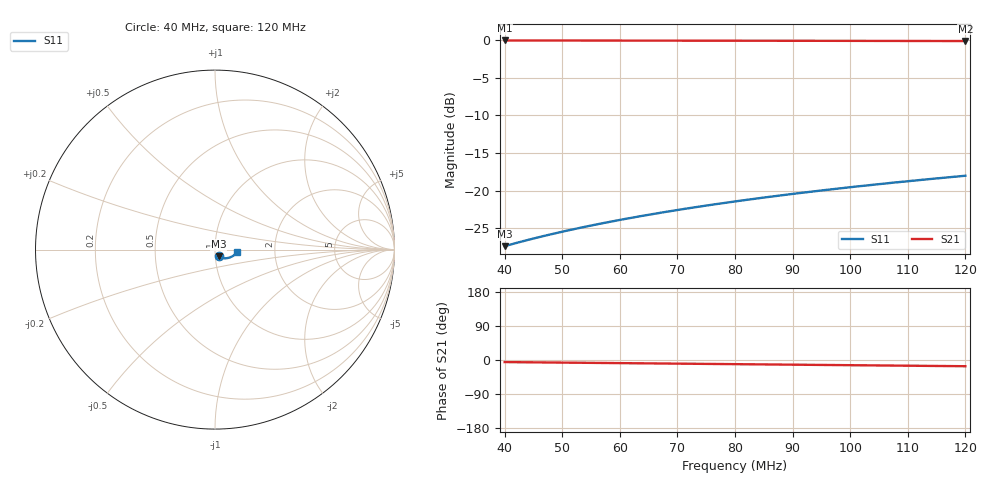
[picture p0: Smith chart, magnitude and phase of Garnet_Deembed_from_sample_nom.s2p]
! COPPER MOUNTAIN TECHNOLOGIES, PLANAR TR1300/1, 00000000, 23.1.2/1.0
! Date: 7/6/2023 6:32:27 PM
! Data: Format [Calibration Info]
! Freq  S11: Re/Im  S21: Re/Im  S12: Re/Im  S22: Re/Im
# HZ S RI R 50
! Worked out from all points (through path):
!   16001 points, 40 MHz to 120 MHz, reference 50 ohm
!   highest |S21| = -0.02 dB at 40 MHz (marker M1); lowest = -0.1 dB at 120 MHz (marker M2)
!   group delay of S21, straight-line fit = 379 ps
!   lowest |S11| = -27.4 dB at 40 MHz (marker M3), VSWR 1.09, Z = 51.9 - j3.89 ohm
!   |S11| at or under -10 dB: start of sweep to end of sweep
!   S12 and S22 are empty: the file has one direction only
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4e7  0.0204 -0.0374  0.9934 -0.0957  0 0  0 0
4.035e7  0.0208 -0.0376  0.9933 -0.0965  0 0  0 0
4.2165e7  0.0225 -0.0388  0.9928 -0.1008  0 0  0 0
4.3995e7  0.0244 -0.04  0.9922 -0.1052  0 0  0 0
4.6755e7  0.0273 -0.0416  0.9913 -0.1117  0 0  0 0
4.9975e7  0.0309 -0.0433  0.9901 -0.1193  0 0  0 0
5.3335e7  0.0348 -0.0448  0.9888 -0.1272  0 0  0 0
5.6485e7  0.0386 -0.046  0.9876 -0.1346  0 0  0 0
5.9755e7  0.0427 -0.047  0.9862 -0.1423  0 0  0 0
6.315e7  0.0471 -0.0477  0.9847 -0.1503  0 0  0 0
6.667e7  0.0517 -0.0482  0.983 -0.1585  0 0  0 0
6.9855e7  0.0561 -0.0484  0.9815 -0.1659  0 0  0 0
7.3135e7  0.0606 -0.0482  0.9798 -0.1735  0 0  0 0
7.6515e7  0.0654 -0.0478  0.978 -0.1814  0 0  0 0
8e7  0.0703 -0.047  0.9761 -0.1894  0 0  0 0
8.65e7  0.0797 -0.0447  0.9723 -0.2043  0 0  0 0
9.3335e7  0.0895 -0.0409  0.968 -0.2199  0 0  0 0
9.986e7  0.0987 -0.0361  0.9636 -0.2347  0 0  0 0
1.0667e8  0.108 -0.0297  0.9588 -0.25  0 0  0 0
1.1396e8  0.1174 -0.0214  0.9533 -0.2663  0 0  0 0
1.18735e8  0.1232 -0.0152  0.9495 -0.2768  0 0  0 0
1.2e8  0.1247 -0.0135  0.9485 -0.2796  0 0  0 0
